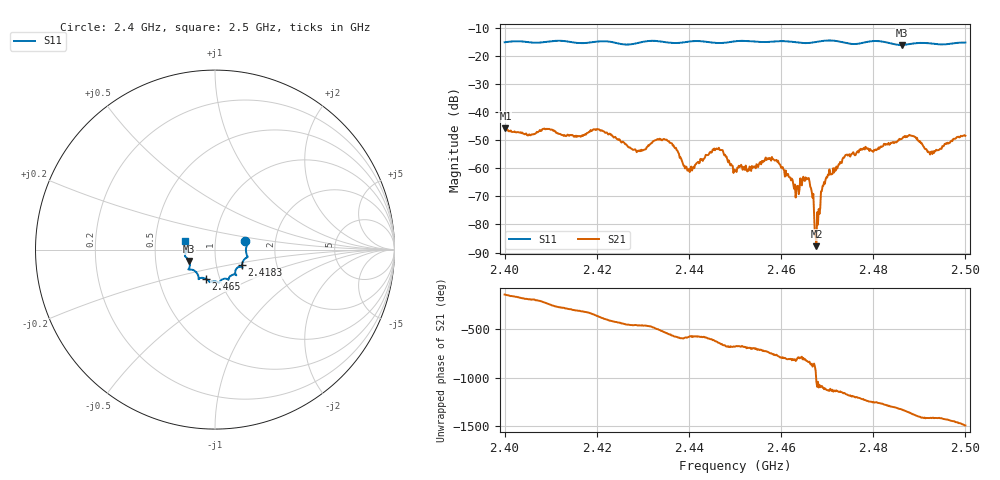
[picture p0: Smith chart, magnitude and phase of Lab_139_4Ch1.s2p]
# Hz S RI R 50
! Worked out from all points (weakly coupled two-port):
!   601 points, 2.4 GHz to 2.5 GHz, reference 50 ohm
!   highest |S21| = -45.81 dB at 2.4002 GHz (marker M1); lowest = -87.7 dB at 2.4677 GHz (marker M2)
!   lowest |S11| = -16.1 dB at 2.4862 GHz (marker M3), VSWR 1.37, Z = 37.1 - j4.82 ohm
!   |S11| at or under -10 dB: start of sweep to end of sweep
!   S12 and S22 are empty: the file has one direction only
!   S11 on the Smith chart (normalised r, x): 2.4 GHz: 1.40, +0.13; 2.4183 GHz: 1.33, -0.24; 2.465 GHz: 0.86, -0.29; 2.5 GHz: 0.71, +0.07
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2.4e9  0.1693 0.0459  -0.00397 -0.00308  0 0  0 0
2.400167e9  0.1705 0.0449  -0.00416 -0.00299  0 0  0 0
2.416667e9  0.1549 -0.0682  0.00269 0.00263  0 0  0 0
2.418333e9  0.1498 -0.0871  0.00389 0.00222  0 0  0 0
2.429e9  0.1125 -0.1289  -0.000432 -0.00202  0 0  0 0
2.433333e9  0.1176 -0.141  -0.00253 -0.00206  0 0  0 0
2.436667e9  0.0934 -0.1424  -0.0022 0.0013  0 0  0 0
2.439667e9  0.0764 -0.1616  -0.000642 0.000642  0 0  0 0
2.446e9  0.053 -0.1621  -9.62e-05 0.00225  0 0  0 0
2.45e9  0.0255 -0.1807  0.000691 0.000559  0 0  0 0
2.457667e9  -0.0151 -0.1784  0.00129 -0.000727  0 0  0 0
2.463333e9  -0.0376 -0.1709  -7.54e-05 -0.000443  0 0  0 0
2.465e9  -0.0524 -0.1617  -4.75e-05 -0.000603  0 0  0 0
2.466667e9  -0.0713 -0.1573  -0.000273 -0.000262  0 0  0 0
2.467667e9  -0.081 -0.1583  3.25e-05 2.5e-05  0 0  0 0
2.4695e9  -0.091 -0.1637  0.000456 -0.000272  0 0  0 0
2.473833e9  -0.0939 -0.1442  0.000254 -0.00162  0 0  0 0
2.483333e9  -0.1414 -0.0964  -0.00234 0.0016  0 0  0 0
2.486167e9  -0.144 -0.0633  -0.00112 0.00315  0 0  0 0
2.489e9  -0.1628 -0.041  0.00216 0.00291  0 0  0 0
2.492667e9  -0.1648 -0.0232  0.00186 0.000717  0 0  0 0
2.5e9  -0.1669 0.0467  0.00223 -0.00308  0 0  0 0
